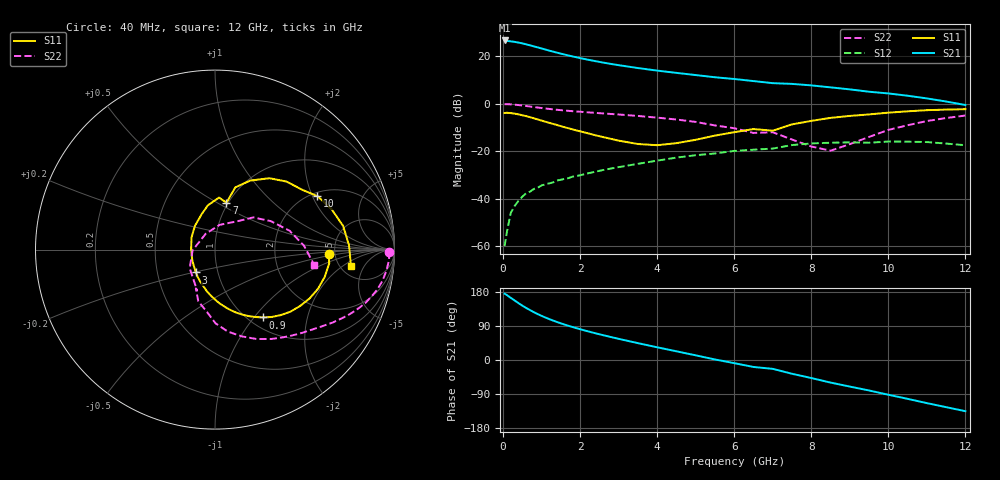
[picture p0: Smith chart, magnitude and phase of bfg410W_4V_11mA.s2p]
! Filename: 411bfg410.001
! BFG410W Field B1
! V1=8.617E-001V,V2=4.000E+000V, I1=1.538E-004A, I2=1.098E-002A
# GHz  S  MA  R 50
!  S11  S21  S12  S22
!Freq(GHz)  Mag  Ang  Mag  Ang  Mag  Ang  Mag  Ang
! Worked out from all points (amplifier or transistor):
!   44 points, 40 MHz to 12 GHz, reference 50 ohm
!   highest |S21| = 26.6 dB at 40 MHz (marker M1)
!   |S21| within 3 dB of that: start of sweep to 915.8 MHz
!   unconditionally stable (mu >= 1): start of sweep to 58.36 MHz; 1.887 GHz to end of sweep
!   at 700 MHz: K = 0.54, MSG = 30.8 dB, |S12| = -37.1 dB
!   at 2.4 GHz: K = 1.10, MAG = 21.3 dB, |S12| = -28.6 dB
!   at 12 GHz: K = 1.50, MAG = 4.3 dB, |S12| = -17.5 dB
!   S11 on the Smith chart (normalised r, x): 40 MHz: 4.44, -0.32; 900 MHz: 1.16, -1.11; 3 GHz: 0.78, -0.20; 7 GHz: 0.98, +0.55; 10 GHz: 2.14, +2.18; 12 GHz: 6.23, -2.71
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0.04  0.634 -2.0  21.27 175.0  0.001 33.1  0.968 -0.7
0.3  0.614 -20.8  19.83 157.1  0.007 77.4  0.949 -10.6
0.4  0.593 -27.4  19.19 150.1  0.009 73.7  0.931 -13.9
0.5  0.568 -33.7  18.46 143.4  0.011 70.9  0.909 -16.8
0.7  0.517 -44.9  16.78 131.6  0.014 67.2  0.866 -22.0
0.9  0.463 -54.7  15.18 121.1  0.017 64.0  0.825 -26.4
1.2  0.393 -67.2  13 107.9  0.021 60.9  0.771 -31.8
1.5  0.335 -78.1  11.23 96.7  0.025 58.8  0.727 -36.4
1.8  0.287 -88.0  9.826 87.1  0.029 57.1  0.692 -40.6
2.2  0.237 -100.9  8.379 75.7  0.034 54.9  0.654 -46.3
2.6  0.197 -114.5  7.277 65.4  0.04 52.5  0.62 -51.9
3  0.166 -130.0  6.423 55.9  0.046 49.5  0.589 -57.7
3.5  0.141 -153.6  5.587 44.5  0.054 45.0  0.549 -65.2
4.5  0.147 153.2  4.421 22.9  0.073 33.4  0.462 -81.2
5.5  0.212 110.3  3.578 1.4  0.089 18.5  0.347 -97.9
6.5  0.291 85.6  2.973 -18.4  0.107 4.8  0.241 -116.3
7  0.269 76.2  2.688 -23.4  0.113 9.3  0.249 -113.6
7.5  0.365 71.9  2.593 -36.3  0.134 -5.8  0.175 -143.7
8.5  0.5 52.7  2.192 -59.6  0.15 -29.0  0.102 120.8
10  0.644 27.6  1.633 -91.7  0.159 -59.2  0.279 40.0
10.5  0.687 19.2  1.462 -102.5  0.158 -69.9  0.35 26.9
12  0.763 -6.8  0.933 -135.1  0.133 -108.5  0.56 -8.8
